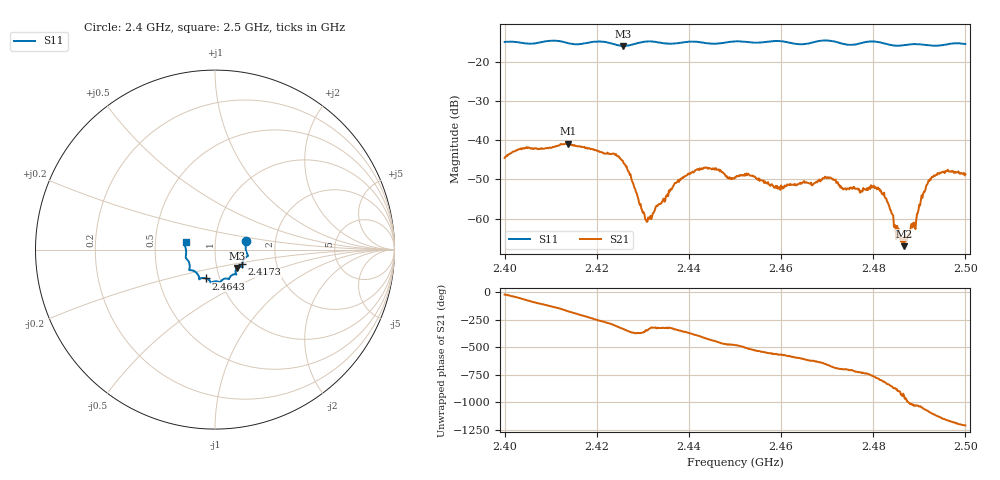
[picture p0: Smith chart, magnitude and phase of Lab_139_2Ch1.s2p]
# Hz S RI R 50
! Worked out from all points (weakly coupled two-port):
!   601 points, 2.4 GHz to 2.5 GHz, reference 50 ohm
!   highest |S21| = -40.85 dB at 2.4138 GHz (marker M1); lowest = -67.0 dB at 2.4867 GHz (marker M2)
!   lowest |S11| = -15.9 dB at 2.4257 GHz (marker M3), VSWR 1.38, Z = 62.5 - j13.1 ohm
!   |S11| at or under -10 dB: start of sweep to end of sweep
!   S12 and S22 are empty: the file has one direction only
!   S11 on the Smith chart (normalised r, x): 2.4 GHz: 1.41, +0.14; 2.4173 GHz: 1.34, -0.23; 2.4643 GHz: 0.86, -0.28; 2.5 GHz: 0.72, +0.06
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2.4e9  0.1731 0.0489  0.00547 -0.00236  0 0  0 0
2.413833e9  0.1676 -0.046  -0.00905 -0.000614  0 0  0 0
2.416667e9  0.1526 -0.0744  -0.00706 0.00438  0 0  0 0
2.417333e9  0.1518 -0.0817  -0.00639 0.00519  0 0  0 0
2.425667e9  0.1228 -0.1025  0.00493 0.00232  0 0  0 0
2.4305e9  0.1182 -0.138  0.000991 0.000111  0 0  0 0
2.433333e9  0.113 -0.1374  0.00126 0.000813  0 0  0 0
2.437167e9  0.0861 -0.1497  0.00269 0.00092  0 0  0 0
2.441833e9  0.0751 -0.1645  0.00354 -0.00242  0 0  0 0
2.45e9  0.0289 -0.181  -0.00176 -0.00287  0 0  0 0
2.459833e9  -0.0241 -0.1831  -0.00204 0.00113  0 0  0 0
2.464333e9  -0.0499 -0.1606  -0.00126 0.00246  0 0  0 0
2.466667e9  -0.076 -0.1592  -0.000286 0.00264  0 0  0 0
2.47e9  -0.088 -0.1658  0.00175 0.00282  0 0  0 0
2.473667e9  -0.095 -0.1397  0.00227 0.000764  0 0  0 0
2.48e9  -0.1433 -0.1131  0.00184 -0.00186  0 0  0 0
2.483333e9  -0.1406 -0.0899  -0.000704 -0.00133  0 0  0 0
2.4855e9  -0.1467 -0.0668  -0.000742 -1.25e-05  0 0  0 0
2.486667e9  -0.1531 -0.058  -0.000347 0.000277  0 0  0 0
2.489e9  -0.1627 -0.0454  0.000518 0.000578  0 0  0 0
2.4925e9  -0.1607 -0.02  0.00303 -0.000841  0 0  0 0
2.5e9  -0.1638 0.0426  -0.00241 -0.00278  0 0  0 0
